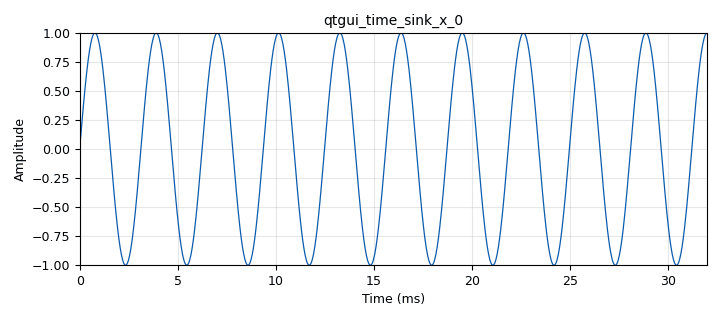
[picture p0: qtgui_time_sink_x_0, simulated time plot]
options:
  parameters:
    author: lab
    generate_options: qt_gui
    id: tag_stream_demo
    output_language: python
    qt_qss_theme: dark.qss
    title: Not titled yet
  states: {}

blocks:
- name: samp_rate
  id: variable
  parameters:
    value: '32000'
  states: {}
- name: analog_sig_source_x_0
  id: analog_sig_source_x
  parameters:
    amp: '1'
    freq: '0.01'
    offset: '0'
    phase: '0'
    samp_rate: '1'
    type: float
    waveform: analog.GR_COS_WAVE
  states: {}
- name: blocks_message_debug_0
  id: blocks_message_debug
  parameters: {}
  states: {}
- name: blocks_stream_to_tagged_stream_0
  id: blocks_stream_to_tagged_stream
  parameters:
    len_tag_key: '"packet_len"'
    packet_len: '511'
    type: float
  states: {}
- name: blocks_throttle_0
  id: blocks_throttle
  parameters:
    samples_per_second: samp_rate
    type: float
  states: {}
- name: note_0
  id: note
  parameters:
    note: Zomming out will allow you to view the tagged stream no matter where it is
  states: {}
- name: note_1
  id: note
  parameters:
    note: Input a frequency value such as "0.1". CURRENTLY NOT WORKING
  states: {}
- name: qtgui_edit_box_msg_0
  id: qtgui_edit_box_msg
  parameters:
    key: freq
    label: Freq
    type: string
  states: {}
- name: qtgui_time_sink_x_0
  id: qtgui_time_sink_x
  parameters:
    size: '1024'
    srate: samp_rate
    type: float
  states: {}

connections:
- [analog_sig_source_x_0, '0', blocks_stream_to_tagged_stream_0, '0']
- [blocks_stream_to_tagged_stream_0, '0', blocks_throttle_0, '0']
- [blocks_throttle_0, '0', qtgui_time_sink_x_0, '0']
- [qtgui_edit_box_msg_0, msg, analog_sig_source_x_0, freq]
- [qtgui_edit_box_msg_0, msg, blocks_message_debug_0, print]

metadata:
  file_format: 1
